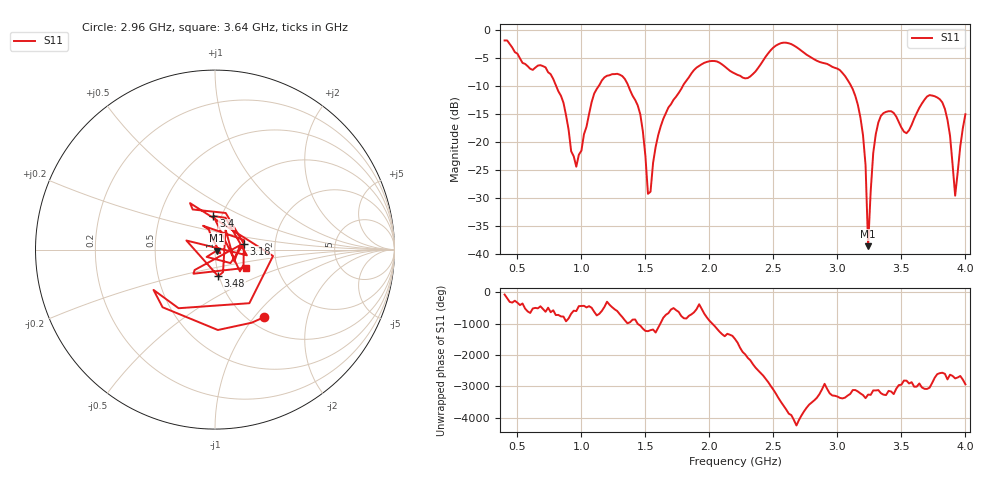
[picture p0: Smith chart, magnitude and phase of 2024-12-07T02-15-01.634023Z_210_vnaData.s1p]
!Created with skrf (http://scikit-rf.org).
# Hz S RI R 50.0
!freq ReS11 ImS11
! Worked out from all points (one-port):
!   181 points, 400 MHz to 4 GHz, reference 50 ohm
!   lowest |S11| = -38.6 dB at 3.24 GHz (marker M1), VSWR 1.02, Z = 51.1 - j0.527 ohm
!   |S11| at or under -10 dB: 801.9 MHz to 1.137 GHz (335.5 MHz wide, 34.6 % of centre); 1.366 GHz to 1.794 GHz (428.3 MHz wide, 27.1 % of centre); 3.106 GHz to end of sweep
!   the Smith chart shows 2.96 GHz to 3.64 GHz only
!   S11 on the Smith chart (normalised r, x): 2.96 GHz: 1.17, -1.12; 3.18 GHz: 1.38, +0.09; 3.4 GHz: 0.92, +0.35; 3.48 GHz: 0.99, -0.30; 3.64 GHz: 1.38, -0.29
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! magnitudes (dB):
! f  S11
! 400 MHz  -1.9
! 720 MHz  -6.7
! 860 MHz  -13.1
! 960 MHz  -24.5
! 1.1 GHz  -11.4
! 1.3 GHz  -8.1
! 1.46 GHz  -15.1
! 1.52 GHz  -29.3
! 1.62 GHz  -17.2
! 1.76 GHz  -11.3
! 1.98 GHz  -5.8
! 2.2 GHz  -7.9
! 2.66 GHz  -2.8
! 2.96 GHz  -6.6
! 3.1 GHz  -9.8
! 3.18 GHz  -15.7
! 3.22 GHz  -24.2
! 3.24 GHz  -38.6
! 3.28 GHz  -22.0
! 3.3 GHz  -18.6
! 3.4 GHz  -14.6
! 3.48 GHz  -16.5
! 3.56 GHz  -18.0
! 3.64 GHz  -14.0
! 3.82 GHz  -13.0
! 3.88 GHz  -18.9
! 3.92 GHz  -29.6
! 4 GHz  -15.1
